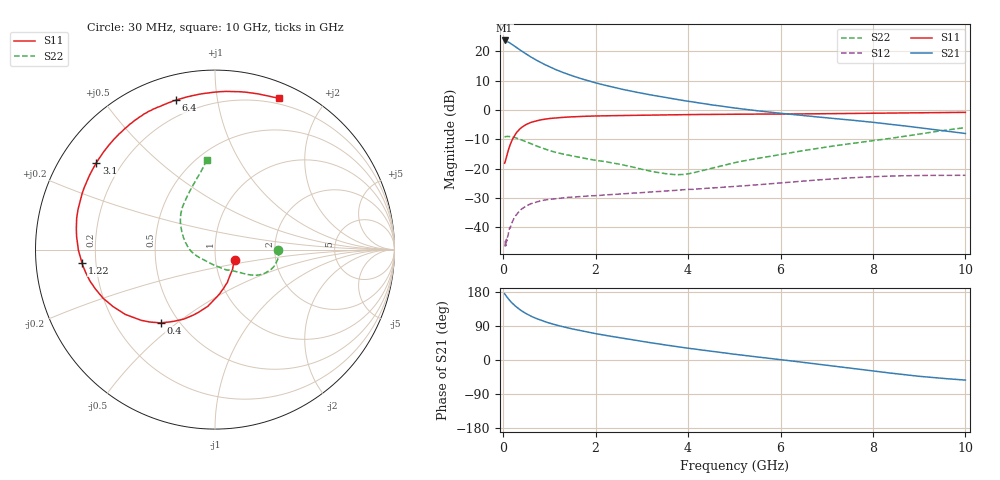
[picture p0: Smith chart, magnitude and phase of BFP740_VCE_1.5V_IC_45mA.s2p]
! Infineon Technologies  Discrete & RF Semiconductors
! BFP740
! VCE =  1.5 V,  IC =  45 mA
! Common Emitter S-Parameters:  Jan 2016
# GHz  S  MA  R  50
!  f  S11  S21  S12  S22
! GHz  MAG  ANG  MAG  ANG  MAG  ANG  MAG  ANG
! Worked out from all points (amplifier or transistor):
!   229 points, 30 MHz to 10 GHz, reference 50 ohm
!   highest |S21| = 23.7 dB at 30 MHz (marker M1)
!   |S21| within 3 dB of that: start of sweep to 342.3 MHz
!   unconditionally stable (mu >= 1): start of sweep to end of sweep
!   at 280 MHz: K = 1.93, MAG = 23.0 dB, |S12| = -35.8 dB
!   at 1.78 GHz: K = 1.63, MAG = 15.1 dB, |S12| = -29.3 dB
!   at 10 GHz: K = 2.30, MAG = 0.7 dB, |S12| = -22.2 dB
!   S11 on the Smith chart (normalised r, x): 30 MHz: 1.24, -0.15; 400 MHz: 0.40, -0.44; 1.22 GHz: 0.15, -0.05; 3.1 GHz: 0.11, +0.32; 6.4 GHz: 0.12, +0.76; 10 GHz: 0.14, +1.50
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0.03  0.1248 -27.8  15.36 174.9  0.0048 26.6  0.351 -0.7
0.05  0.1395 -44.2  15.15 171.5  0.0062 29.0  0.3529 -2.4
0.06  0.148 -48.9  15.05 169.5  0.0049 39.9  0.3526 -2.9
0.11  0.2066 -73.3  14.46 161.5  0.0077 46.5  0.3546 -6.4
0.15  0.2566 -86.1  13.8 155.7  0.0098 51.3  0.3529 -9.3
0.2  0.3184 -97.2  13.03 149.3  0.0126 49.4  0.3481 -12.9
0.3  0.4245 -114.2  11.47 138.5  0.0171 48.8  0.3313 -19.4
0.4  0.5084 -126.6  10.12 129.5  0.0207 45.5  0.3092 -24.9
0.52  0.578 -137.9  8.789 120.9  0.0238 41.0  0.2835 -29.7
0.6  0.6169 -144.2  8.019 115.7  0.0254 38.2  0.2669 -32.5
0.7  0.6518 -151.0  7.206 110.2  0.0268 35.4  0.2479 -34.9
0.9  0.7007 -161.6  5.961 101.1  0.0294 31.1  0.217 -38.7
1.22  0.7447 -174.2  4.605 89.9  0.0314 26.9  0.1836 -43.6
1.7  0.7803 172.0  3.403 76.8  0.0337 23.8  0.1539 -49.7
2.3  0.8011 158.8  2.534 63.1  0.0362 22.3  0.1285 -61.0
3.1  0.8189 143.9  1.873 47.3  0.0397 22.0  0.0941 -82.5
3.4  0.8255 138.8  1.692 41.7  0.0411 21.5  0.0851 -96.6
5.1  0.8525 116.6  1.065 13.8  0.0507 18.9  0.1314 -175.0
6.4  0.8602 104.7  0.821 -4.9  0.0611 14.7  0.1982 155.6
6.8  0.865 100.4  0.764 -10.9  0.0645 12.2  0.2223 147.9
8.4  0.8903 81.1  0.571 -34.8  0.0751 -0.6  0.3315 118.3
10  0.9149 67.1  0.399 -53.0  0.0774 -12.0  0.5022 95.2
